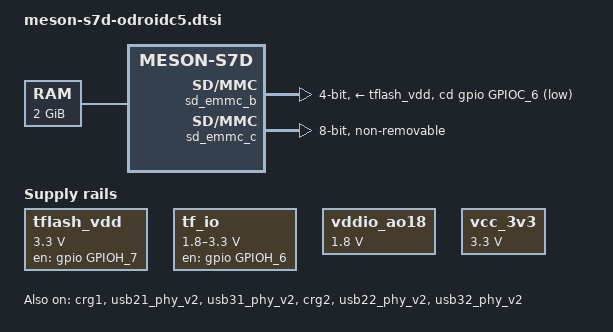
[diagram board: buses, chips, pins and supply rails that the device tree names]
// SPDX-License-Identifier: (GPL-2.0+ OR MIT)
/*
 * Copyright (c) 2019 Amlogic, Inc. All rights reserved.
 */

/* Common DTSI for devices which are based on the P212 reference board. */

#include "amlogic/meson-s7d-txxx.dtsi"

/ {
	aliases {
		serial0 = &uart_a;
		serial1 = &uart_b;
		spi0 = &spi_nfc;
		spi1 = &spicc0;
		i2c0 = &i2c0;
		i2c1 = &i2c1;
		i2c2 = &i2c2;
		i2c3 = &i2c3;
	};

	chosen {
		stdout-path = "serial1:115200n8";
	};

	memory@0 {
		device_type = "memory";
		reg = <0x0 0x0 0x0 0x80000000>;
	};

	tflash_vdd: regulator-tflash_vdd {
		compatible = "regulator-fixed";
		regulator-name = "TFLASH_VDD";
		regulator-min-microvolt = <3300000>;
		regulator-max-microvolt = <3300000>;

		gpio = <&gpio GPIOH_7 GPIO_ACTIVE_HIGH>;
		enable-active-high;
		regulator-always-on;
	};

	tf_io: gpio-regulator-tf_io {
		compatible = "regulator-gpio";

		regulator-name = "TF_IO";
		regulator-min-microvolt = <1800000>;
		regulator-max-microvolt = <3300000>;

		enable-gpio = <&gpio GPIOH_6 GPIO_ACTIVE_HIGH>;
		enable-active-high;
		regulator-always-on;

		gpios = <&gpio GPIODV_4 GPIO_ACTIVE_HIGH>;
		gpios-states = <0>;

		states = <3300000 0>,
			 <1800000 1>;
	};

	vddio_ao18: regulator-vddio_ao18 {
		compatible = "regulator-fixed";
		regulator-name = "VDDIO_AO18";
		regulator-min-microvolt = <1800000>;
		regulator-max-microvolt = <1800000>;
	};

	vcc_3v3: regulator-vcc_3v3 {
		compatible = "regulator-fixed";
		regulator-name = "VCC_3V3";
		regulator-min-microvolt = <3300000>;
		regulator-max-microvolt = <3300000>;
	};

	emmc_pwrseq: emmc-pwrseq {
		compatible = "mmc-pwrseq-emmc";
		/*reset-gpios = <&gpio BOOT_9 GPIO_ACTIVE_LOW>;*/
	};

	tee: tee {
		compatible = "linaro,optee-tz";
		method = "smc";
	};
};

&vpu {
	clk_level = <8>;
};

&ir {
	status = "disabled";
	/* pinctrl-0 = <&remote_input_ao_pins>; */
	/* pinctrl-names = "default"; */
};

&saradc {
	status = "disabled";
	vref-supply = <&vddio_ao18>;
};

/* SD card */
&sd_emmc_b {
	status = "okay";
	pinctrl-0 = <&sdcard_pins>;
	//pinctrl-1 = <&sdcard_clk_gate_pins>;
	//pinctrl-names = "sd_all_pins", "clk-gate";
	pinctrl-1 = <&sdcard_pins &to_sduart_pins>;
	pinctrl-names = "sd_all_pins", "sd_uart";

	bus-width = <4>;
	cap-sd-highspeed;
	max-frequency = <100000000>;
	disable-wp;

	cd-gpios = <&gpio GPIOC_6 GPIO_ACTIVE_HIGH>;
	cd-inverted;

	card_type = <5>;

	init_co_phase = <2>;
	init_tx_phase = <0>;

	sd_hs_co_phase = <2>;
	sd_hs_to_phase = <0>;

	vmmc-supply = <&tflash_vdd>;
	vqmmc-supply = <&tf_io>;
};

/* eMMC */
&sd_emmc_c {
	status = "okay";
	pinctrl-0 = <&emmc_pins>;
	pinctrl-names = "default";

	bus-width = <8>;
	cap-mmc-highspeed;
	mmc-hs200-1_8v;
	max-frequency = <200000000>;
	non-removable;
	disable-wp;
	/* mmc-ddr-1_8v; */
	card_type = <1>;

	init_co_phase = <2>;
	init_tx_phase = <0>;

	hs_co_phase = <2>;
	hs_to_phase = <0>;

	hs2_co_phase = <2>;
	hs2_to_phase = <0>;

	hw_reset = <&gpio GPIOB_9 GPIO_ACTIVE_HIGH>;

	//mmc-pwrseq = <&emmc_pwrseq>;
	//vmmc-supply = <&vcc_3v3>;
	//vqmmc-supply = <&vddio_boot>;
};

&crg1 {
	status = "okay";
	dr_mode = "host";
};

&usb21_phy_v2 {
	status = "okay";
	portnum = <1>;
};

&usb31_phy_v2 {
	status = "okay";
	portnum = <0>;
	/* gpio-vbus-power = "GPIOD_6"; */
	/* gpios = <&gpio GPIOD_6 GPIO_ACTIVE_HIGH>; */
};

&crg2 {
	status = "okay";
	dr_mode = "host";
};

&usb22_phy_v2 {
	status = "okay";
	portnum = <1>;
};

&usb32_phy_v2 {
	status = "okay";
	portnum = <0>;
	gpio-vbus-power = "GPIOH_8";
	gpios = <&gpio GPIOH_8 GPIO_ACTIVE_HIGH>;
};

&spicc0 {
	status = "disabled";
	pinctrl-names = "default";
	pinctrl-0 = <&spicc0_pins_x>;
};

